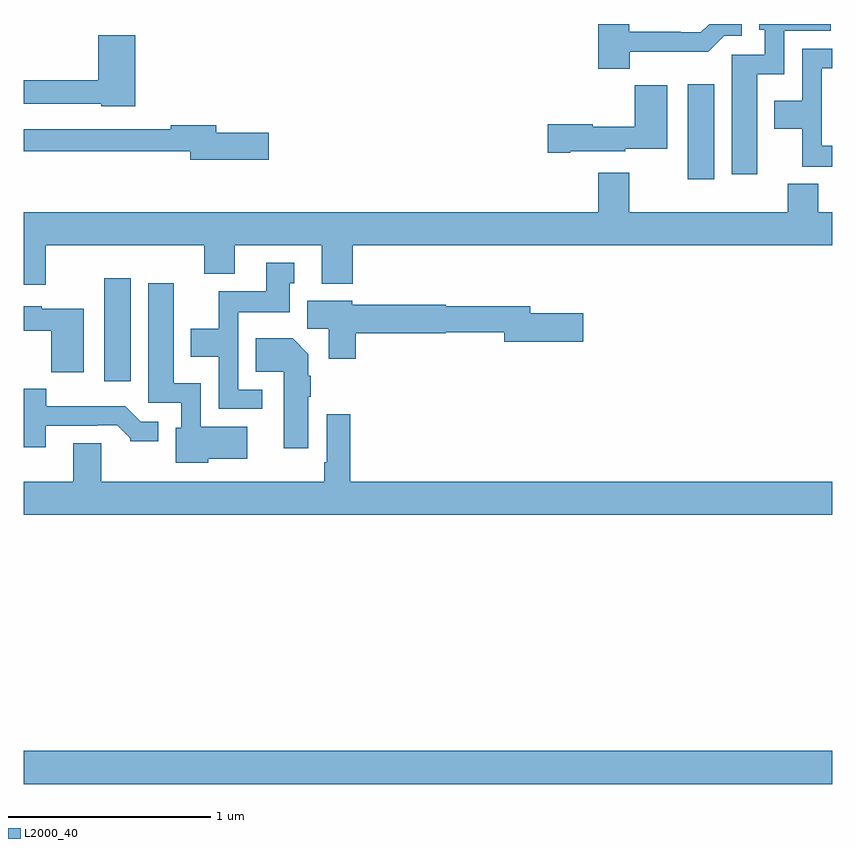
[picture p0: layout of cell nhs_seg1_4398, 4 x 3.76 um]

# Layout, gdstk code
import gdstk
lib = gdstk.Library(unit=1e-6, precision=1e-09)
def R(c, l, rs):  # rectangles x0, y0, x1, y1
    for r in rs: c.add(gdstk.rectangle(r[:2], r[2:], *l))
def P(c, l, *ps):  # polygons
    for p in ps: c.add(gdstk.Polygon(p, *l))
L2000_40 = (2000, 40)

nhs_seg1_4398 = lib.new_cell('nhs_seg1_4398')
R(nhs_seg1_4398, L2000_40, [(351,510.44,355,510.604), (351.398,512.433,351.529,512.941), (354.284,513.432,354.415,513.901)])
P(nhs_seg1_4398, L2000_40, [(354.628,513.95),(354.762,513.95),(354.762,514.166),(354.991,514.166),(354.991,514.199),(354.638,514.199),(354.638,514.17),(354.666,514.17),(354.666,514.047),(354.503,514.047),(354.503,513.456),(354.628,513.456)],
  [(353.998,514.062),(354.387,514.062),(354.465,514.14),(354.553,514.14),(354.553,514.199),(354.391,514.199),(354.35,514.158),(354.251,514.158),(354.251,514.161),(353.995,514.161),(353.995,514.199),(353.843,514.199),(353.843,513.977),(353.998,513.977)],
  [(351.551,514.144),(351.368,514.144),(351.368,513.92),(351,513.92),(351,513.804),(351.384,513.804),(351.384,513.791),(351.551,513.791)],
  [(355,513.598),(354.948,513.598),(354.948,513.981),(355,513.981),(355,514.077),(354.852,514.077),(354.852,513.82),(354.713,513.82),(354.713,513.68),(354.85,513.68),(354.85,513.494),(355,513.494)],
  [(353.704,513.569),(353.976,513.569),(353.976,513.581),(354.184,513.581),(354.184,513.895),(354.022,513.895),(354.022,513.691),(353.814,513.691),(353.814,513.704),(353.592,513.704),(353.592,513.562),(353.704,513.562)],
  [(352.213,513.662),(351.952,513.662),(351.952,513.698),(351.728,513.698),(351.728,513.678),(351,513.678),(351,513.57),(351.824,513.57),(351.824,513.527),(352.213,513.527)],
  [(351.109,513.104),(351.893,513.104),(351.893,512.963),(352.045,512.963),(352.045,513.104),(352.475,513.104),(352.475,512.915),(352.628,512.915),(352.628,513.104),(355,513.104),(355,513.268),(354.931,513.268),(354.931,513.409),(354.779,513.409),(354.779,513.268),(353.995,513.268),(353.995,513.463),(353.843,513.463),(353.843,513.268),(351,513.268),(351,512.91),(351.109,512.91)],
  [(352.18,512.391),(352.062,512.391),(352.062,512.774),(352.315,512.774),(352.315,512.916),(352.339,512.916),(352.339,513.019),(352.199,513.019),(352.199,512.878),(351.964,512.878),(351.964,512.692),(351.827,512.692),(351.827,512.552),(351.966,512.552),(351.966,512.295),(352.18,512.295)],
  [(351.912,512.048),(352.105,512.048),(352.105,512.206),(351.876,512.206),(351.876,512.422),(351.742,512.422),(351.742,512.917),(351.617,512.917),(351.617,512.325),(351.78,512.325),(351.78,512.202),(351.752,512.202),(351.752,512.03),(351.912,512.03)],
  [(352.643,512.669),(353.088,512.669),(353.088,512.674),(353.378,512.674),(353.378,512.627),(353.767,512.627),(353.767,512.769),(353.506,512.769),(353.506,512.803),(353.088,512.803),(353.088,512.811),(352.626,512.811),(352.626,512.83),(352.403,512.83),(352.403,512.692),(352.508,512.692),(352.508,512.544),(352.643,512.544)],
  [(351.298,512.791),(351.09,512.791),(351.09,512.803),(351,512.803),(351,512.681),(351.136,512.681),(351.136,512.477),(351.298,512.477)],
  [(352.408,512.356),(352.421,512.356),(352.421,512.459),(352.408,512.459),(352.408,512.566),(352.33,512.644),(352.147,512.644),(352.147,512.48),(352.286,512.48),(352.286,512.1),(352.408,512.1)],
  [(351.109,512.211),(351.365,512.211),(351.365,512.214),(351.464,512.214),(351.528,512.15),(351.528,512.135),(351.667,512.135),(351.667,512.232),(351.579,512.232),(351.503,512.308),(351.112,512.308),(351.112,512.395),(351,512.395),(351,512.106),(351.109,512.106)],
  [(355,511.936),(352.616,511.936),(352.616,512.269),(352.5,512.269),(352.5,512.032),(352.488,512.032),(352.488,511.936),(351.385,511.936),(351.385,512.126),(351.245,512.126),(351.245,511.936),(351,511.936),(351,511.772),(355,511.772)])

lib.write_gds('nhs_seg1_4398.gds')
